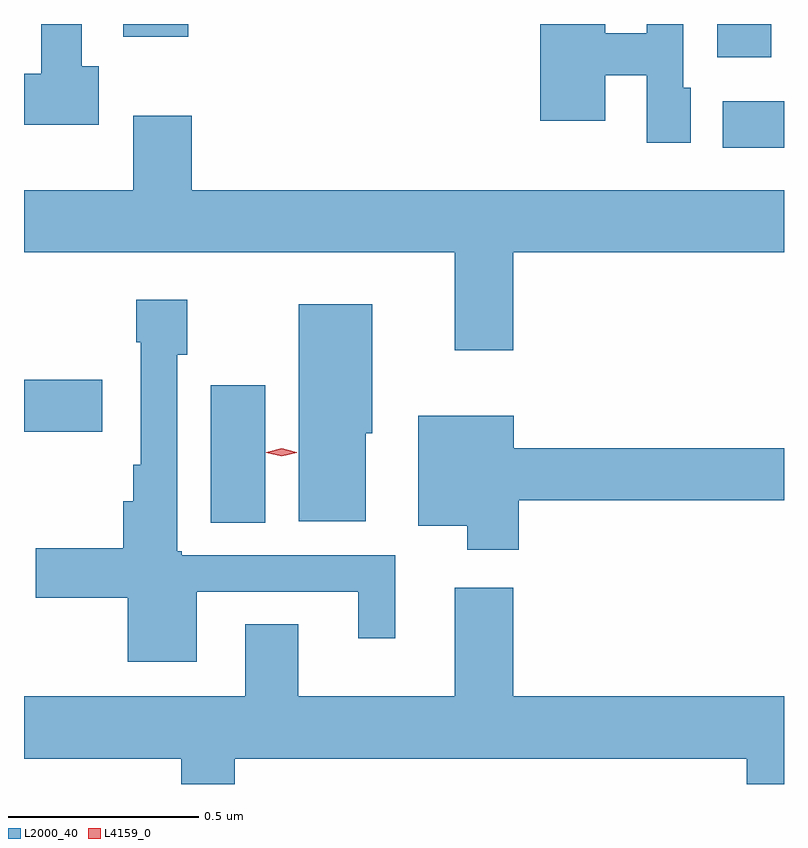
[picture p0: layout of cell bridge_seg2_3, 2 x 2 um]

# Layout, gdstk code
import gdstk
lib = gdstk.Library(unit=1e-6, precision=1e-09)
def R(c, l, rs):  # rectangles x0, y0, x1, y1
    for r in rs: c.add(gdstk.rectangle(r[:2], r[2:], *l))
def P(c, l, *ps):  # polygons
    for p in ps: c.add(gdstk.Polygon(p, *l))
L2000_40 = (2000, 40)
L4159_0 = (4159, 0)

bridge_seg2_3 = lib.new_cell('bridge_seg2_3')
R(bridge_seg2_3, L2000_40, [(885.965,594.976,886.108,595.339), (885.473,595.216,885.679,595.353), (887.312,595.964,887.473,596.086), (887.297,596.202,887.44,596.289), (885.734,596.256,885.905,596.289)])
P(bridge_seg2_3, L2000_40, [(887.227,596.121),(887.208,596.121),(887.208,596.289),(887.112,596.289),(887.112,596.265),(887.002,596.265),(887.002,596.289),(886.832,596.289),(886.832,596.034),(887.002,596.034),(887.002,596.154),(887.112,596.154),(887.112,595.977),(887.227,595.977)],
  [(885.67,596.178),(885.625,596.178),(885.625,596.289),(885.518,596.289),(885.518,596.158),(885.473,596.158),(885.473,596.024),(885.67,596.024)],
  [(886.76,595.688),(887.473,595.688),(887.473,595.852),(885.914,595.852),(885.914,596.047),(885.761,596.047),(885.761,595.852),(885.473,595.852),(885.473,595.688),(886.607,595.688),(886.607,595.431),(886.76,595.431)],
  [(885.928,594.795),(886.352,594.795),(886.352,594.672),(886.45,594.672),(886.45,594.891),(885.888,594.891),(885.888,594.901),(885.876,594.901),(885.876,595.419),(885.903,595.419),(885.903,595.564),(885.768,595.564),(885.768,595.451),(885.78,595.451),(885.78,595.129),(885.76,595.129),(885.76,595.033),(885.734,595.033),(885.734,594.909),(885.504,594.909),(885.504,594.779),(885.746,594.779),(885.746,594.611),(885.928,594.611)],
  [(886.372,595.212),(886.39,595.212),(886.39,595.552),(886.196,595.552),(886.196,594.98),(886.372,594.98)],
  [(886.775,595.036),(887.473,595.036),(887.473,595.172),(886.762,595.172),(886.762,595.258),(886.511,595.258),(886.511,594.968),(886.64,594.968),(886.64,594.906),(886.775,594.906)],
  [(886.027,594.356),(887.375,594.356),(887.375,594.289),(887.473,594.289),(887.473,594.52),(886.76,594.52),(886.76,594.805),(886.607,594.805),(886.607,594.52),(886.195,594.52),(886.195,594.71),(886.055,594.71),(886.055,594.52),(885.473,594.52),(885.473,594.356),(885.887,594.356),(885.887,594.289),(886.027,594.289)])
P(bridge_seg2_3, L4159_0, [(886.151,595.152),(886.111,595.161),(886.111,595.162),(886.111,595.162),(886.151,595.172),(886.191,595.162),(886.191,595.162),(886.191,595.161)])

lib.write_gds('bridge_seg2_3.gds')
